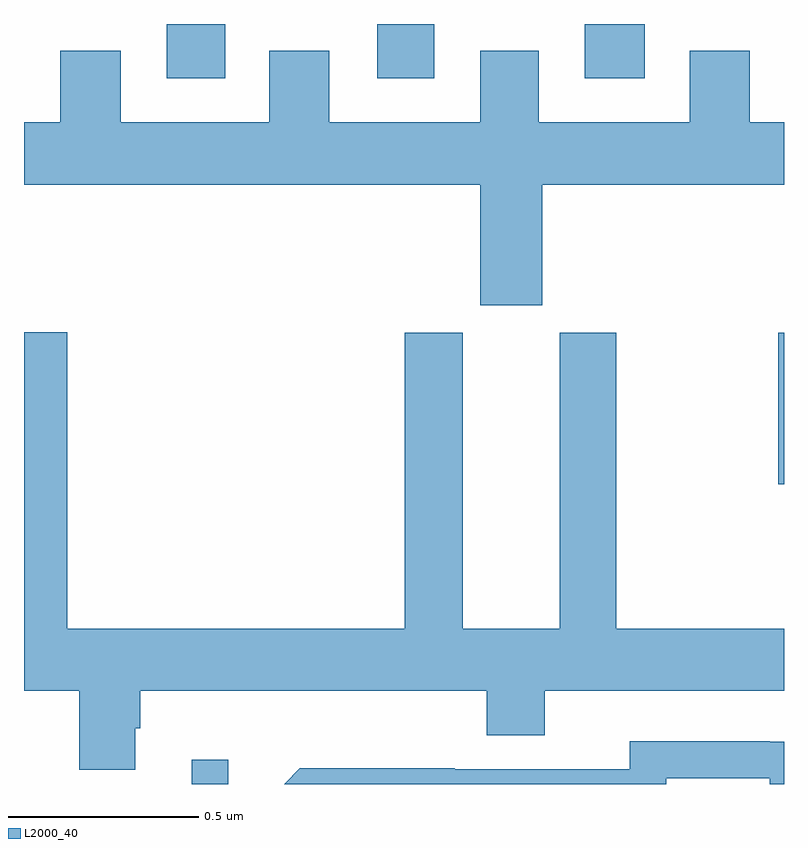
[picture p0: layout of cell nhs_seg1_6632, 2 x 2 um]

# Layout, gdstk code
import gdstk
lib = gdstk.Library(unit=1e-6, precision=1e-09)
def R(c, l, rs):  # rectangles x0, y0, x1, y1
    for r in rs: c.add(gdstk.rectangle(r[:2], r[2:], *l))
def P(c, l, *ps):  # polygons
    for p in ps: c.add(gdstk.Polygon(p, *l))
L2000_40 = (2000, 40)

nhs_seg1_6632 = lib.new_cell('nhs_seg1_6632')
R(nhs_seg1_6632, L2000_40, [(194.441,506.199,194.538,506.263), (195.985,506.988,196,507.387), (194.375,508.056,194.53,508.199), (194.93,508.056,195.079,508.199), (195.476,508.056,195.634,508.199)])
P(nhs_seg1_6632, L2000_40, [(195.364,507.776),(196,507.776),(196,507.94),(195.91,507.94),(195.91,508.129),(195.752,508.129),(195.752,507.94),(195.355,507.94),(195.355,508.129),(195.2,508.129),(195.2,507.94),(194.803,507.94),(194.803,508.129),(194.645,508.129),(194.645,507.94),(194.254,507.94),(194.254,508.129),(194.096,508.129),(194.096,507.94),(194,507.94),(194,507.776),(195.2,507.776),(195.2,507.459),(195.364,507.459)],
  [(194.293,506.346),(194.306,506.346),(194.306,506.444),(195.218,506.444),(195.218,506.327),(195.37,506.327),(195.37,506.444),(196,506.444),(196,506.608),(195.558,506.608),(195.558,507.387),(195.41,507.387),(195.41,506.608),(195.154,506.608),(195.154,507.387),(195.002,507.387),(195.002,506.608),(194.114,506.608),(194.114,507.388),(194,507.388),(194,506.444),(194.146,506.444),(194.146,506.236),(194.293,506.236)],
  [(195.69,506.214),(195.962,506.214),(195.962,506.199),(196,506.199),(196,506.31),(195.962,506.31),(195.962,506.311),(195.594,506.311),(195.594,506.238),(195.134,506.238),(195.134,506.24),(194.726,506.24),(194.685,506.199),(195.69,506.199)])

lib.write_gds('nhs_seg1_6632.gds')
